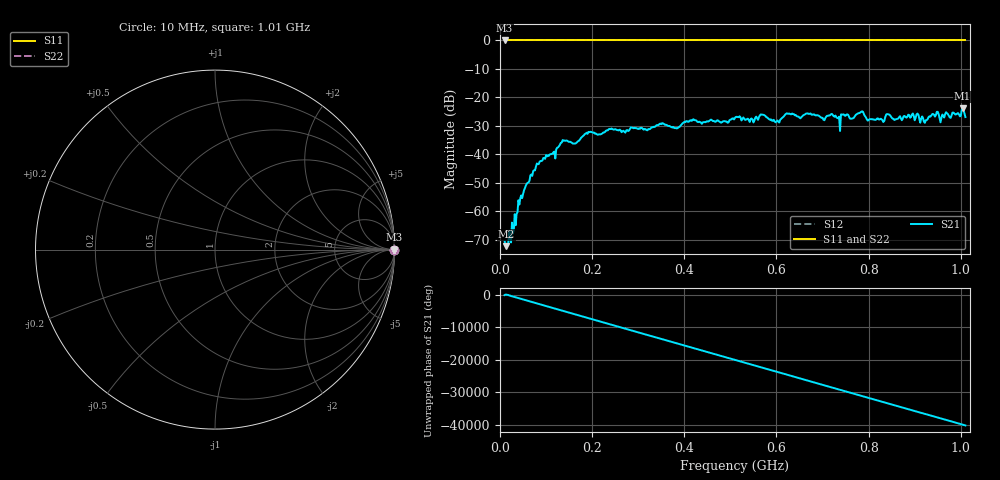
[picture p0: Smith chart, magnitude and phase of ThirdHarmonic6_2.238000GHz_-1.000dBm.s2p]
! 8/17/2025 2:36:03 AM
! C:\ANRITSUVNA\TEMP\TEMP.S2P
! CHANNEL.1
! TR.MEASUREMENT
! RAW.DATA
! RF.CORRECTION.OFF
! AVERAGING.OFF
! IF.BANDWIDTH: 5KHZ
! SWEEPTYPE:  FREQ.SWEEP(Linear)
! Reference Plane Port Info
! PORT:  PORT1  PORT2
! DISTANCE:  0  m  0  m
! TIME:  0  s  0  s
! PHASE.OFFSET:  0  deg.  0  deg.
! LOSS:  0  dB  0  dB
! REF.LOSS:  0  dB  0  dB
! REF.FREQ:  0  Hz  0  Hz
! Power Info
! POWER:  -20  dBm  -20  dBm
! EFF.POWER:  -20  dBm  -20  dBm
! SOURCE.ATTEN:  0  dB  0  dB
! TEST.ATTEN:  0  dB  0  dB
# GHZ S RI R 50.0
! FREQ.GHZ  S11RE  S11IM  S21RE  S21IM  S12RE  S12IM  S22RE  S22IM
!; PortSelection: Port_12
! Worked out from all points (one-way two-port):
!   501 points, 10 MHz to 1.01 GHz, reference 50 ohm
!   highest |S21| = -23.85 dB at 1.004 GHz (marker M1); lowest = -72.3 dB at 14 MHz (marker M2)
!   lowest |S11| = 0.0 dB at 10 MHz (marker M3)
!   |S11| at or under -10 dB: nowhere
!   |S22| runs from 0.0 to 0.0 dB; largest |S21 - S12| = 1.1
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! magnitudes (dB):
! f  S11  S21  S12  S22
! 10 MHz  0.0  -70.5  0.0  0.0
! 14 MHz  0.0  -72.3  0.0  0.0
! 26 MHz  0.0  -64.1  0.0  0.0
! 44 MHz  0.0  -55.5  0.0  0.0
! 82 MHz  0.0  -43.5  0.0  0.0
! 136 MHz  0.0  -35.0  0.0  0.0
! 178 MHz  0.0  -33.9  0.0  0.0
! 344 MHz  0.0  -29.8  0.0  0.0
! 382 MHz  0.0  -30.8  0.0  0.0
! 416 MHz  0.0  -28.3  0.0  0.0
! 510 MHz  0.0  -27.2  0.0  0.0
! 570 MHz  0.0  -26.1  0.0  0.0
! 602 MHz  0.0  -28.1  0.0  0.0
! 624 MHz  0.0  -25.7  0.0  0.0
! 678 MHz  0.0  -26.1  0.0  0.0
! 734 MHz  0.0  -27.4  0.0  0.0
! 784 MHz  0.0  -25.1  0.0  0.0
! 800 MHz  0.0  -28.0  0.0  0.0
! 844 MHz  0.0  -26.0  0.0  0.0
! 924 MHz  0.0  -28.1  0.0  0.0
! 1.004 GHz  0.0  -23.8  0.0  0.0
! 1.01 GHz  0.0  -26.9  0.0  0.0
